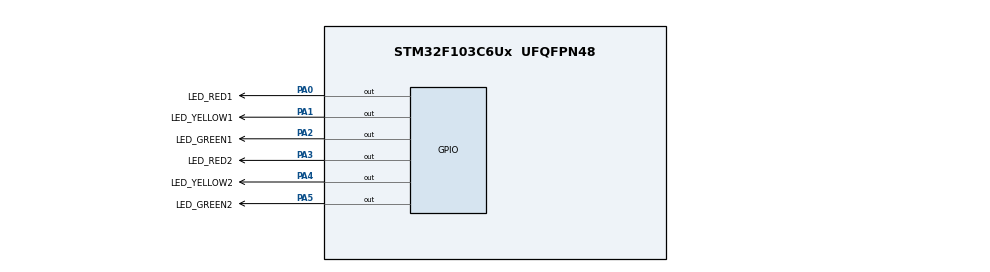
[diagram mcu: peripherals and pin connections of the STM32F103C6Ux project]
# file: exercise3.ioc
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Mcu.Family=STM32F1
Mcu.Name=STM32F103C6Ux
Mcu.Package=UFQFPN48
NVIC.PriorityGroup=NVIC_PRIORITYGROUP_4
PA0-WKUP.GPIO_Label=LED_RED1
PA0-WKUP.Signal=GPIO_Output
PA1.GPIO_Label=LED_YELLOW1
PA1.Signal=GPIO_Output
PA2.GPIO_Label=LED_GREEN1
PA2.Signal=GPIO_Output
PA3.GPIO_Label=LED_RED2
PA3.Signal=GPIO_Output
PA4.GPIO_Label=LED_YELLOW2
PA4.Signal=GPIO_Output
PA5.GPIO_Label=LED_GREEN2
PA5.Signal=GPIO_Output
ProjectManager.HeapSize=0x200
ProjectManager.StackSize=0x400
ProjectManager.TargetToolchain=STM32CubeIDE
RCC.APB1Freq_Value=8000000
RCC.APB2Freq_Value=8000000
VP_SYS_VS_ND.Mode=No_Debug
board=custom

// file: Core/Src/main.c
/* USER CODE BEGIN Header */
/**
  ******************************************************************************
  * @file           : main.c
  * @brief          : Main program body
  ******************************************************************************
  * @attention
  *
  * <h2><center>&copy; Copyright (c) 2023 STMicroelectronics.
  * All rights reserved.</center></h2>
  *
  * This software component is licensed by ST under BSD 3-Clause license,
  * the "License"; You may not use this file except in compliance with the
  * License. You may obtain a copy of the License at:
  *                        opensource.org/licenses/BSD-3-Clause
  *
  ******************************************************************************
  */
/* USER CODE END Header */
#include "main.h"

void SystemClock_Config(void);
static void MX_GPIO_Init(void);

int main(void)
{

  /* MCU Configuration--------------------------------------------------------*/

  /* Reset of all peripherals, Initializes the Flash interface and the Systick. */
  HAL_Init();

  /* Configure the system clock */
  SystemClock_Config();

  /* Initialize all configured peripherals */
  MX_GPIO_Init();

  /* Infinite loop */
  /* USER CODE BEGIN WHILE */
  int count1 = 5, count2 = 3, state1 = 0, state2 = 1;
  while (1)
  {
    /* USER CODE END WHILE */
	  if(count1 == 0){
		  if(state1 == 0){
			  count1 = 3;
			  state1 = 1;
		  }
		  else if(state1 == 1){
			  count1 = 2;
			  state1 = 2;
		  }
		  else{
			  count1 = 5;
			  state1 = 0;
		  }
	  }

	  if(count2 == 0){
		  if(state2 == 0){
			  count2 = 3;
			  state2 = 1;
		  }
		  else if(state2 == 1){
			  count2 = 2;
			  state2 = 2;
		  }
		  else{
			  count2 = 5;
			  state2 = 0;
		  }
	  }
	  led1(state1);
	  led2(state2);
	  --count1;
	  --count2;
	  HAL_Delay(1000);

  }
}

void SystemClock_Config(void)
{
  RCC_OscInitTypeDef RCC_OscInitStruct = {0};
  RCC_ClkInitTypeDef RCC_ClkInitStruct = {0};

  /** Initializes the RCC Oscillators according to the specified parameters
  * in the RCC_OscInitTypeDef structure.
  */
  RCC_OscInitStruct.OscillatorType = RCC_OSCILLATORTYPE_HSI;
  RCC_OscInitStruct.HSIState = RCC_HSI_ON;
  RCC_OscInitStruct.HSICalibrationValue = RCC_HSICALIBRATION_DEFAULT;
  RCC_OscInitStruct.PLL.PLLState = RCC_PLL_NONE;
  if (HAL_RCC_OscConfig(&RCC_OscInitStruct) != HAL_OK)
  {
    Error_Handler();
  }
  /** Initializes the CPU, AHB and APB buses clocks
  */
  RCC_ClkInitStruct.ClockType = RCC_CLOCKTYPE_HCLK|RCC_CLOCKTYPE_SYSCLK
                              |RCC_CLOCKTYPE_PCLK1|RCC_CLOCKTYPE_PCLK2;
  RCC_ClkInitStruct.SYSCLKSource = RCC_SYSCLKSOURCE_HSI;
  RCC_ClkInitStruct.AHBCLKDivider = RCC_SYSCLK_DIV1;
  RCC_ClkInitStruct.APB1CLKDivider = RCC_HCLK_DIV1;
  RCC_ClkInitStruct.APB2CLKDivider = RCC_HCLK_DIV1;

  if (HAL_RCC_ClockConfig(&RCC_ClkInitStruct, FLASH_LATENCY_0) != HAL_OK)
  {
    Error_Handler();
  }
}

static void MX_GPIO_Init(void)
{
  GPIO_InitTypeDef GPIO_InitStruct = {0};

  /* GPIO Ports Clock Enable */
  __HAL_RCC_GPIOA_CLK_ENABLE();

  /*Configure GPIO pin Output Level */
  HAL_GPIO_WritePin(GPIOA, LED_RED1_Pin|LED_YELLOW1_Pin|LED_GREEN1_Pin|LED_RED2_Pin
                          |LED_YELLOW2_Pin|LED_GREEN2_Pin, GPIO_PIN_RESET);

  /*Configure GPIO pins : LED_RED1_Pin LED_YELLOW1_Pin LED_GREEN1_Pin LED_RED2_Pin
                           LED_YELLOW2_Pin LED_GREEN2_Pin */
  GPIO_InitStruct.Pin = LED_RED1_Pin|LED_YELLOW1_Pin|LED_GREEN1_Pin|LED_RED2_Pin
                          |LED_YELLOW2_Pin|LED_GREEN2_Pin;
  GPIO_InitStruct.Mode = GPIO_MODE_OUTPUT_PP;
  GPIO_InitStruct.Pull = GPIO_NOPULL;
  GPIO_InitStruct.Speed = GPIO_SPEED_FREQ_LOW;
  HAL_GPIO_Init(GPIOA, &GPIO_InitStruct);

}

/* USER CODE BEGIN 4 */
void led1(int state){
	  if(state == 0){
		  HAL_GPIO_WritePin(LED_RED1_GPIO_Port, LED_RED1_Pin, GPIO_PIN_RESET);
		  HAL_GPIO_WritePin(LED_YELLOW1_GPIO_Port, LED_YELLOW1_Pin, GPIO_PIN_SET);
		  HAL_GPIO_WritePin(LED_GREEN1_GPIO_Port, LED_GREEN1_Pin, GPIO_PIN_SET);
	  }
	  else if(state == 1){
		  HAL_GPIO_WritePin(LED_RED1_GPIO_Port, LED_RED1_Pin, GPIO_PIN_SET);
		  HAL_GPIO_WritePin(LED_YELLOW1_GPIO_Port, LED_YELLOW1_Pin, GPIO_PIN_SET);
		  HAL_GPIO_WritePin(LED_GREEN1_GPIO_Port, LED_GREEN1_Pin, GPIO_PIN_RESET);
	  }
	  else{
		  HAL_GPIO_WritePin(LED_RED1_GPIO_Port, LED_RED1_Pin, GPIO_PIN_SET);
		  HAL_GPIO_WritePin(LED_YELLOW1_GPIO_Port, LED_YELLOW1_Pin, GPIO_PIN_RESET);
		  HAL_GPIO_WritePin(LED_GREEN1_GPIO_Port, LED_GREEN1_Pin, GPIO_PIN_SET);
	  }
  }

void led2(int state){
	  if(state == 0){
		  HAL_GPIO_WritePin(LED_RED2_GPIO_Port, LED_RED2_Pin, GPIO_PIN_RESET);
		  HAL_GPIO_WritePin(LED_YELLOW2_GPIO_Port, LED_YELLOW2_Pin, GPIO_PIN_SET);
		  HAL_GPIO_WritePin(LED_GREEN2_GPIO_Port, LED_GREEN2_Pin, GPIO_PIN_SET);
	  }
	  else if(state == 1){
		  HAL_GPIO_WritePin(LED_RED2_GPIO_Port, LED_RED2_Pin, GPIO_PIN_SET);
		  HAL_GPIO_WritePin(LED_YELLOW2_GPIO_Port, LED_YELLOW2_Pin, GPIO_PIN_SET);
		  HAL_GPIO_WritePin(LED_GREEN2_GPIO_Port, LED_GREEN2_Pin, GPIO_PIN_RESET);
	  }
	  else{
		  HAL_GPIO_WritePin(LED_RED2_GPIO_Port, LED_RED2_Pin, GPIO_PIN_SET);
		  HAL_GPIO_WritePin(LED_YELLOW2_GPIO_Port, LED_YELLOW2_Pin, GPIO_PIN_RESET);
		  HAL_GPIO_WritePin(LED_GREEN2_GPIO_Port, LED_GREEN2_Pin, GPIO_PIN_SET);
	  }
  }

/* USER CODE END 4 */

void Error_Handler(void)
{
  __disable_irq();
  while (1)
  {
  }
}

/************************ (C) COPYRIGHT STMicroelectronics *****END OF FILE****/
